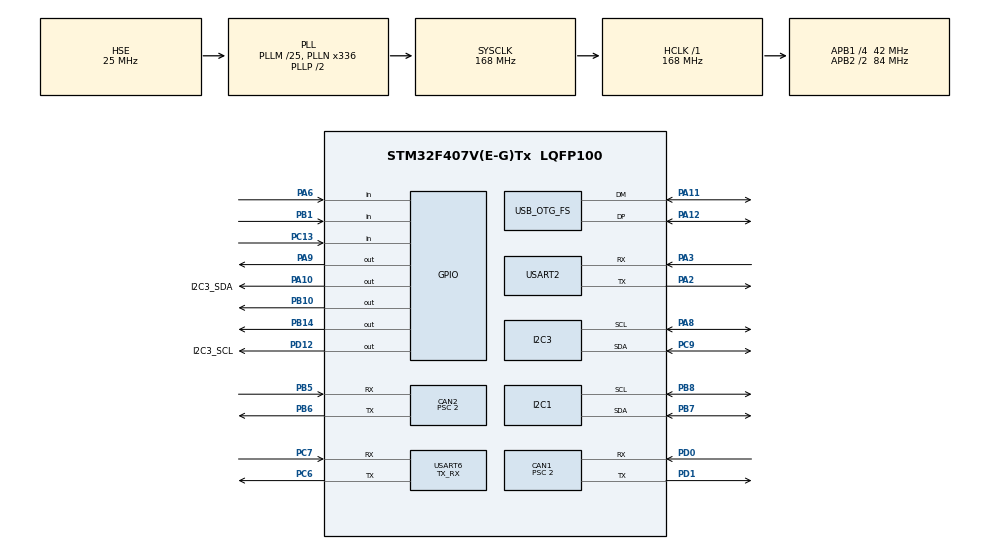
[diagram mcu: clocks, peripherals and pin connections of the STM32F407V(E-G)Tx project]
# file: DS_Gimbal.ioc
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CAN1.ABOM=ENABLE
CAN1.BS1=CAN_BS1_15TQ
CAN1.BS2=CAN_BS2_5TQ
CAN1.CalculateBaudRate=1000000
CAN1.CalculateTimeBit=1000
CAN1.CalculateTimeQuantum=47.61904761904762
CAN1.NART=ENABLE
CAN1.Prescaler=2
CAN2.ABOM=ENABLE
CAN2.BS1=CAN_BS1_15TQ
CAN2.BS2=CAN_BS2_5TQ
CAN2.CalculateBaudRate=1000000
CAN2.CalculateTimeBit=1000
CAN2.CalculateTimeQuantum=47.61904761904762
CAN2.NART=ENABLE
CAN2.Prescaler=2
I2C1.I2C_Mode=I2C_Fast
I2C3.I2C_Mode=I2C_Fast
Mcu.Family=STM32F4
Mcu.Name=STM32F407V(E-G)Tx
Mcu.Package=LQFP100
NVIC.CAN1_RX0_IRQn=true\:0\:0\:false\:false\:true\:true\:true\:true
NVIC.CAN1_RX1_IRQn=true\:0\:0\:false\:false\:true\:true\:true\:true
NVIC.CAN2_RX0_IRQn=true\:0\:0\:false\:false\:true\:true\:true\:true
NVIC.CAN2_RX1_IRQn=true\:0\:0\:false\:false\:true\:true\:true\:true
NVIC.OTG_FS_IRQn=true\:0\:0\:false\:false\:true\:false\:true\:true
NVIC.PriorityGroup=NVIC_PRIORITYGROUP_4
NVIC.TIM3_IRQn=true\:0\:0\:false\:false\:true\:true\:true\:true
NVIC.TIM4_IRQn=true\:0\:0\:false\:false\:true\:true\:true\:true
NVIC.TIM5_IRQn=true\:0\:0\:false\:false\:true\:true\:true\:true
NVIC.USART2_IRQn=true\:0\:0\:false\:false\:true\:true\:true\:true
PA10.GPIO_Label=I2C3_SDA
PA10.GPIO_Speed=GPIO_SPEED_FREQ_VERY_HIGH
PA10.Signal=GPIO_Output
PA11.Mode=Device_Only
PA11.Signal=USB_OTG_FS_DM
PA12.Mode=Device_Only
PA12.Signal=USB_OTG_FS_DP
PA13.Mode=Serial_Wire
PA13.Signal=SYS_JTMS-SWDIO
PA14.Mode=Serial_Wire
PA14.Signal=SYS_JTCK-SWCLK
PA2.Mode=Asynchronous
PA2.Signal=USART2_TX
PA3.Mode=Asynchronous
PA3.Signal=USART2_RX
PA6.GPIO_PuPd=GPIO_PULLUP
PA6.Signal=GPIO_Input
PA8.Mode=I2C
PA8.Signal=I2C3_SCL
PA9.GPIO_ModeDefaultOutputPP=GPIO_MODE_OUTPUT_PP
PA9.Signal=GPIO_Output
PB1.GPIO_PuPd=GPIO_PULLUP
PB1.Signal=GPIO_Input
PB10.Signal=GPIO_Output
PB14.GPIO_ModeDefaultOutputPP=GPIO_MODE_OUTPUT_PP
PB14.GPIO_PuPd=GPIO_NOPULL
PB14.GPIO_Speed=GPIO_SPEED_FREQ_VERY_HIGH
PB14.PinState=GPIO_PIN_RESET
PB14.Signal=GPIO_Output
PB5.Mode=CAN_Activate
PB5.Signal=CAN2_RX
PB6.Mode=CAN_Activate
PB6.Signal=CAN2_TX
PB7.GPIO_Speed=GPIO_SPEED_FREQ_VERY_HIGH
PB7.Mode=I2C
PB7.Signal=I2C1_SDA
PB8.Mode=I2C
PB8.Signal=I2C1_SCL
PC13-ANTI_TAMP.GPIO_PuPd=GPIO_PULLUP
PC13-ANTI_TAMP.Signal=GPIO_Input
PC6.Mode=Asynchronous
PC6.Signal=USART6_TX
PC7.Mode=Asynchronous
PC7.Signal=USART6_RX
PC9.Mode=I2C
PC9.Signal=I2C3_SDA
PD0.Mode=CAN_Activate
PD0.Signal=CAN1_RX
PD1.Mode=CAN_Activate
PD1.Signal=CAN1_TX
PD12.GPIO_Label=I2C3_SCL
PD12.GPIO_Speed=GPIO_SPEED_FREQ_VERY_HIGH
PD12.Signal=GPIO_Output
PH0-OSC_IN.Mode=HSE-External-Oscillator
PH0-OSC_IN.Signal=RCC_OSC_IN
PH1-OSC_OUT.Mode=HSE-External-Oscillator
PH1-OSC_OUT.Signal=RCC_OSC_OUT
ProjectManager.HeapSize=0x600
ProjectManager.StackSize=0x600
ProjectManager.TargetToolchain=MDK-ARM V5
RCC.48MHZClocksFreq_Value=48000000
RCC.AHBFreq_Value=168000000
RCC.APB1CLKDivider=RCC_HCLK_DIV4
RCC.APB1Freq_Value=42000000
RCC.APB1TimFreq_Value=84000000
RCC.APB2CLKDivider=RCC_HCLK_DIV2
RCC.APB2Freq_Value=84000000
RCC.APB2TimFreq_Value=168000000
RCC.CortexFreq_Value=168000000
RCC.HCLKFreq_Value=168000000
RCC.HSE_VALUE=25000000
RCC.HSI_VALUE=16000000
RCC.LSE_VALUE=32768
RCC.PLLM=25
RCC.PLLN=336
RCC.PLLQ=7
RCC.SYSCLKFreq_VALUE=168000000
RCC.SYSCLKSource=RCC_SYSCLKSOURCE_PLLCLK
RCC.VCOOutputFreq_Value=336000000
TIM3.Period=999
TIM3.Prescaler=83
TIM4.Period=19999
TIM4.Prescaler=84
TIM5.Period=5000-1
TIM5.Prescaler=8400-1
USART2.VirtualMode=VM_ASYNC
USART6.Mode=MODE_TX_RX
USART6.VirtualMode=VM_ASYNC
USB_DEVICE.CLASS_NAME_FS=CDC
USB_DEVICE.USBD_SELF_POWERED-CDC_FS=1
USB_DEVICE.VirtualMode-CDC_FS=Cdc
USB_DEVICE.VirtualModeFS=Cdc_FS
USB_OTG_FS.VirtualMode=Device_Only
VP_TIM3_VS_ClockSourceINT.Mode=Internal
VP_TIM4_VS_ClockSourceINT.Mode=Internal
VP_TIM5_VS_ClockSourceINT.Mode=Internal
VP_USB_DEVICE_VS_USB_DEVICE_CDC_FS.Mode=CDC_FS
board=custom

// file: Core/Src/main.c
/* USER CODE BEGIN Header */
/**
  ******************************************************************************
  * @file           : main.c
  * @brief          : Main program body
  ******************************************************************************
  * @attention
  *
  * Copyright (c) 2026 STMicroelectronics.
  * All rights reserved.
  *
  * This software is licensed under terms that can be found in the LICENSE file
  * in the root directory of this software component.
  * If no LICENSE file comes with this software, it is provided AS-IS.
  *
  ******************************************************************************
  */
/* USER CODE END Header */
#include "main.h"
#include "can.h"
#include "i2c.h"
#include "tim.h"
#include "usart.h"
#include "usb_device.h"
#include "gpio.h"

/* USER CODE BEGIN Includes */
#include "motor.h"
#include "uart_me.h"
#include "bsp_can.h"
#include "dm_motor_ctrl.h"
#include "dm_motor_drv.h"
#include "key.h"
#include "OLED.h"
#include <string.h>
#include <stdio.h>
#include "wit_c_sdk.h"
#include "hal_hard_i2c.h"
/* USER CODE END Includes */

void SystemClock_Config(void);
/* USER CODE BEGIN PFP */
void WitDataUpdate(uint32_t uiReg, uint32_t uiRegNum);
void sdk_delay_ms(uint16_t nms);

/* USER CODE END PFP */

/* USER CODE BEGIN 0 */
#define FIND_ANGLE     20

uint16_t g_Tim3_Num = 0;

void HAL_TIM_PeriodElapsedCallback(TIM_HandleTypeDef *htim)
{
    if (htim->Instance == TIM3)
    {
			if (HAL_GetTick() - vision_data.last_update_tick > 200) {
        vision_data.is_tracking = 0;
			}

			if(gimbal_ctrl.mode == 1)
			{
				if(vision_data.is_tracking == 1)
				{
					WitReadReg(Roll, 3);
					float current_gyro_yaw = sReg[Yaw] / 32768.0f * 180.0f;

					gimbal_ctrl.yaw_target_angle = current_gyro_yaw * (PI / 180.0f);
					gimbal_ctrl.pitch_target_angle = motor[Motor2].para.pos;

					gimbal_ctrl.last_yaw_target_angle = gimbal_ctrl.yaw_target_angle;
					gimbal_ctrl.last_pitch_target_angle = gimbal_ctrl.pitch_target_angle;

					gimbal_ctrl.pid_yaw.i_err = 0;
					gimbal_ctrl.pid_yaw.last_err = 0;
					gimbal_ctrl.pid_pitch.i_err = 0;
					gimbal_ctrl.pid_pitch.last_err = 0;

					gimbal_ctrl.mode = 2;
				}
			}
			else if(gimbal_ctrl.mode == 2 || gimbal_ctrl.mode == 3)
			Gimbal_Control_Loop();
    }

		if (htim->Instance == TIM4)
    {
			KeyScan(&Key1);
			KeyScan(&Key2);
			KeyScan(&Key3);
    }

		if (htim->Instance == TIM5)    //  0.5s
    {

    }
}

volatile uint8_t System_Busy = 0;

/* USER CODE END 0 */

int main(void)
{

  /* MCU Configuration--------------------------------------------------------*/

  /* Reset of all peripherals, Initializes the Flash interface and the Systick. */
  HAL_Init();

  /* Configure the system clock */
  SystemClock_Config();

  /* Initialize all configured peripherals */
  MX_GPIO_Init();
  MX_CAN1_Init();
  MX_CAN2_Init();
  MX_USB_DEVICE_Init();
  MX_TIM3_Init();
  MX_TIM4_Init();
  MX_TIM5_Init();
  MX_USART6_UART_Init();
  MX_USART2_UART_Init();
  MX_I2C1_Init();
  MX_I2C3_Init();
  /* USER CODE BEGIN 2 */
	WitInit(WIT_PROTOCOL_I2C, 0x50);
	WitI2cFuncRegister(HAL_Hardware_I2C_Write, HAL_Hardware_I2C_Read);
	WitDelayMsRegister(sdk_delay_ms);
  WitRegisterCallBack(WitDataUpdate);

	Gimbal_Init();
	OLED_Init();
	HAL_TIM_Base_Start_IT(&htim4);

	//HAL_TIM_Base_Start_IT(&htim3);

	char c_Oled[20];
  /* USER CODE END 2 */

  /* Infinite loop */
  /* USER CODE BEGIN WHILE */
  while (1)
  {
		Process_Vision_Packet();
		/*Gimbal Enable and Disable*/
			if(Key3_Nub == 1 && System_Busy == 0)
		{
			System_Busy = 1;
			vision_data.is_tracking = 0;
			vision_data.last_update_tick = HAL_GetTick();
			Motor_Enable();
			read_motor_ctrl_fbdata(&hcan1, motor[Motor1].id);
			read_motor_ctrl_fbdata(&hcan2, motor[Motor2].id);
			HAL_Delay(50);

			WitReadReg(Roll, 3);
      fGyro_ang[2] = sReg[Yaw] / 32768.0f * 180.0f;
			gimbal_ctrl.yaw_target_angle = fGyro_ang[2] * PI / 180.0f;
			gimbal_ctrl.pitch_target_angle = motor[Motor2].para.pos;
			gimbal_ctrl.last_yaw_target_angle = gimbal_ctrl.yaw_target_angle;
      gimbal_ctrl.last_pitch_target_angle = gimbal_ctrl.pitch_target_angle;

//			gimbal_ctrl.yaw_target_angle = motor[Motor1].para.pos;
//			gimbal_ctrl.pitch_target_angle = motor[Motor2].para.pos;
			gimbal_ctrl.pid_yaw.i_err = 0;
			gimbal_ctrl.pid_yaw.out = 0;
			gimbal_ctrl.pid_pitch.i_err = 0;
			gimbal_ctrl.pid_pitch.out = 0;

			HAL_TIM_Base_Start_IT(&htim3);
			Key3_Nub = -1;
			System_Busy = 0;
			HAL_GPIO_WritePin(GPIOB, GPIO_PIN_10, 0);
		}
		else if(Key3_Nub == 2 && System_Busy == 0)
		{
			System_Busy = 1;
			HAL_TIM_Base_Stop_IT(&htim3);
			Motor_Disable();
			Key3_Nub = -2;
			System_Busy = 0;
			HAL_GPIO_WritePin(GPIOB, GPIO_PIN_10, 0);
			is_target_locked = 0;
		}
		/*Gimbal Zero Position Setting*/
		if(Key2_Nub == 1 && System_Busy == 0)
		{
			Key2_Nub = 0;
			//Gimbal_Set_Zero();
			Sensor_ResetZ_Hardware();
			System_Busy = 0;
		}

		/***OLED***/
		if(Key1_Nub)
		{
			sprintf(c_Oled, "Mode:%d", gimbal_ctrl.mode);
			OLED_ShowString(1, 1, c_Oled, OLED_8X16);
			OLED_Update();
			if(gimbal_ctrl.mode == 2) {
				PID_Init(&gimbal_ctrl.pid_yaw, 0.015f, 0.0002f, 0.00f, 10.0f, 1.0f);  //0.015 0.0002 0.00
				PID_Init(&gimbal_ctrl.pid_pitch, 0.0075f, 0.0f, 0.000f, 5.0f, 2.0f); //0.0075 0.0 0.0
			}
			if(gimbal_ctrl.mode == 3) {
				PID_Init(&gimbal_ctrl.pid_yaw, 0.014f, 0.000f, 0.00f, 10.0f, 1.0f);  //0.015 0.0002 0.00
				PID_Init(&gimbal_ctrl.pid_pitch, 0.0075f, 0.0f, 0.000f, 5.0f, 2.0f); //0.0075 0.0 0.0
			}

			if(gimbal_ctrl.mode == 1) PID_Init(&gimbal_ctrl.pid_yaw, 0.00f, 0.0f, 0.0f, 10.0f, 2.0f);  //8.0
		}

		/*gimbal_ctrl.mode1*/
		if(gimbal_ctrl.mode == 1)
		{
			Motor_Two_Ctrl(0, 0.0f, 4.0f, 0.03f, 0.0f);
			Motor_One_Spd_Ctrl(2.5);
			HAL_Delay(1);
		}

//		printf("%d\n",(int)fGyro_ang[2]);
//		HAL_Delay(1);
		//HAL_GPIO_WritePin(GPIOB, GPIO_PIN_10, 0);

//		WitReadReg(Roll, 3);
//    fGyro_ang[0] = sReg[Roll] / 32768.0f * 180.0f;
//    fGyro_ang[1] = sReg[Pitch] / 32768.0f * 180.0f;
//		fGyro_ang[2] = sReg[Yaw] / 32768.0f * 180.0f;
//		HAL_Delay(1);

		//Motor_One_Spd_Ctrl(-1 * fGyro[2]/180.0f * 3.1416f);
    /* USER CODE END WHILE */

  }
}

void SystemClock_Config(void)
{
  RCC_OscInitTypeDef RCC_OscInitStruct = {0};
  RCC_ClkInitTypeDef RCC_ClkInitStruct = {0};

  /** Configure the main internal regulator output voltage
  */
  __HAL_RCC_PWR_CLK_ENABLE();
  __HAL_PWR_VOLTAGESCALING_CONFIG(PWR_REGULATOR_VOLTAGE_SCALE1);

  /** Initializes the RCC Oscillators according to the specified parameters
  * in the RCC_OscInitTypeDef structure.
  */
  RCC_OscInitStruct.OscillatorType = RCC_OSCILLATORTYPE_HSE;
  RCC_OscInitStruct.HSEState = RCC_HSE_ON;
  RCC_OscInitStruct.PLL.PLLState = RCC_PLL_ON;
  RCC_OscInitStruct.PLL.PLLSource = RCC_PLLSOURCE_HSE;
  RCC_OscInitStruct.PLL.PLLM = 25;
  RCC_OscInitStruct.PLL.PLLN = 336;
  RCC_OscInitStruct.PLL.PLLP = RCC_PLLP_DIV2;
  RCC_OscInitStruct.PLL.PLLQ = 7;
  if (HAL_RCC_OscConfig(&RCC_OscInitStruct) != HAL_OK)
  {
    Error_Handler();
  }

  /** Initializes the CPU, AHB and APB buses clocks
  */
  RCC_ClkInitStruct.ClockType = RCC_CLOCKTYPE_HCLK|RCC_CLOCKTYPE_SYSCLK
                              |RCC_CLOCKTYPE_PCLK1|RCC_CLOCKTYPE_PCLK2;
  RCC_ClkInitStruct.SYSCLKSource = RCC_SYSCLKSOURCE_PLLCLK;
  RCC_ClkInitStruct.AHBCLKDivider = RCC_SYSCLK_DIV1;
  RCC_ClkInitStruct.APB1CLKDivider = RCC_HCLK_DIV4;
  RCC_ClkInitStruct.APB2CLKDivider = RCC_HCLK_DIV2;

  if (HAL_RCC_ClockConfig(&RCC_ClkInitStruct, FLASH_LATENCY_5) != HAL_OK)
  {
    Error_Handler();
  }
}

/* USER CODE BEGIN 4 */

int fputc(int ch, FILE *f) {
    HAL_UART_Transmit(&huart6, (uint8_t *)&ch, 1, HAL_MAX_DELAY);
    return ch;
}

void HAL_UART_RxCpltCallback(UART_HandleTypeDef *huart)
{
  if (huart->Instance == USART2)
  {
  }
}

void WitDataUpdate(uint32_t uiReg, uint32_t uiRegNum)
{

}
void sdk_delay_ms(uint16_t nms)
{
    HAL_Delay(nms);
}
/* USER CODE END 4 */

void Error_Handler(void)
{
  __disable_irq();
  while (1)
  {
  }
}
